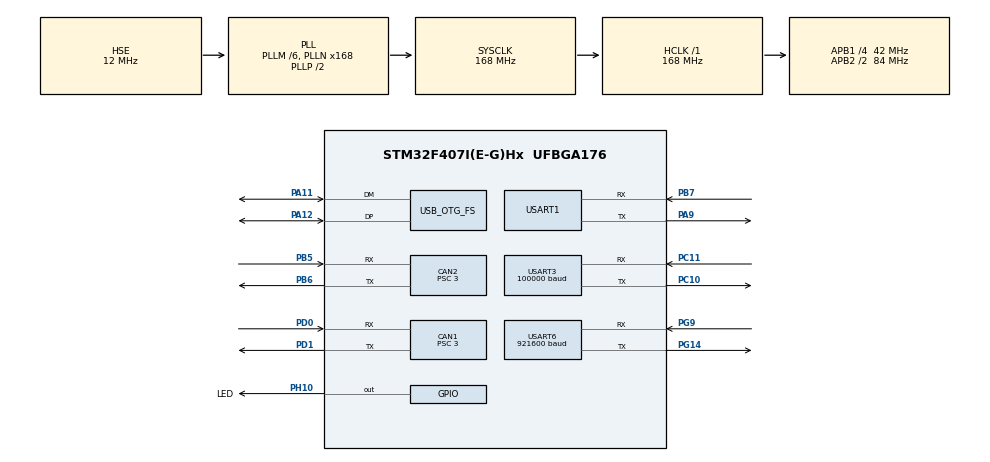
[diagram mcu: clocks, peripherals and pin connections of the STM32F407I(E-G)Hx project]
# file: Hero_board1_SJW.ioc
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CAN1.BS1=CAN_BS1_10TQ
CAN1.BS2=CAN_BS2_3TQ
CAN1.CalculateBaudRate=1000000
CAN1.CalculateTimeBit=1000
CAN1.CalculateTimeQuantum=71.42857142857143
CAN1.Prescaler=3
CAN1.TXFP=ENABLE
CAN2.BS1=CAN_BS1_10TQ
CAN2.BS2=CAN_BS2_3TQ
CAN2.CalculateBaudRate=1000000
CAN2.CalculateTimeBit=1000
CAN2.CalculateTimeQuantum=71.42857142857143
CAN2.Prescaler=3
CAN2.TXFP=ENABLE
Dma.Request0=USART3_RX
Dma.Request1=USART1_RX
Dma.Request2=USART1_TX
Dma.Request3=USART6_RX
Dma.USART1_RX.1.Direction=DMA_PERIPH_TO_MEMORY
Dma.USART1_RX.1.FIFOMode=DMA_FIFOMODE_DISABLE
Dma.USART1_RX.1.Instance=DMA2_Stream2
Dma.USART1_RX.1.MemDataAlignment=DMA_MDATAALIGN_BYTE
Dma.USART1_RX.1.MemInc=DMA_MINC_ENABLE
Dma.USART1_RX.1.Mode=DMA_CIRCULAR
Dma.USART1_RX.1.PeriphDataAlignment=DMA_PDATAALIGN_BYTE
Dma.USART1_RX.1.PeriphInc=DMA_PINC_DISABLE
Dma.USART1_RX.1.Priority=DMA_PRIORITY_LOW
Dma.USART1_TX.2.Direction=DMA_MEMORY_TO_PERIPH
Dma.USART1_TX.2.FIFOMode=DMA_FIFOMODE_DISABLE
Dma.USART1_TX.2.Instance=DMA2_Stream7
Dma.USART1_TX.2.MemDataAlignment=DMA_MDATAALIGN_BYTE
Dma.USART1_TX.2.MemInc=DMA_MINC_ENABLE
Dma.USART1_TX.2.Mode=DMA_CIRCULAR
Dma.USART1_TX.2.PeriphDataAlignment=DMA_PDATAALIGN_BYTE
Dma.USART1_TX.2.PeriphInc=DMA_PINC_DISABLE
Dma.USART1_TX.2.Priority=DMA_PRIORITY_LOW
Dma.USART3_RX.0.Direction=DMA_PERIPH_TO_MEMORY
Dma.USART3_RX.0.FIFOMode=DMA_FIFOMODE_DISABLE
Dma.USART3_RX.0.Instance=DMA1_Stream1
Dma.USART3_RX.0.MemDataAlignment=DMA_MDATAALIGN_BYTE
Dma.USART3_RX.0.MemInc=DMA_MINC_ENABLE
Dma.USART3_RX.0.Mode=DMA_CIRCULAR
Dma.USART3_RX.0.PeriphDataAlignment=DMA_PDATAALIGN_BYTE
Dma.USART3_RX.0.PeriphInc=DMA_PINC_DISABLE
Dma.USART3_RX.0.Priority=DMA_PRIORITY_VERY_HIGH
Dma.USART6_RX.3.Direction=DMA_PERIPH_TO_MEMORY
Dma.USART6_RX.3.FIFOMode=DMA_FIFOMODE_DISABLE
Dma.USART6_RX.3.Instance=DMA2_Stream1
Dma.USART6_RX.3.MemDataAlignment=DMA_MDATAALIGN_BYTE
Dma.USART6_RX.3.MemInc=DMA_MINC_ENABLE
Dma.USART6_RX.3.Mode=DMA_CIRCULAR
Dma.USART6_RX.3.PeriphDataAlignment=DMA_PDATAALIGN_BYTE
Dma.USART6_RX.3.PeriphInc=DMA_PINC_DISABLE
Dma.USART6_RX.3.Priority=DMA_PRIORITY_LOW
FREERTOS.INCLUDE_vTaskDelayUntil=1
FREERTOS.INCLUDE_xTaskGetHandle=1
FREERTOS.Tasks01=defaultTask,0,128,StartDefaultTask,Default,NULL,Dynamic,NULL,NULL;StartTask,3,128,ALL_Init,Default,NULL,Dynamic,NULL,NULL
Mcu.Family=STM32F4
Mcu.Name=STM32F407I(E-G)Hx
Mcu.Package=UFBGA176
NVIC.CAN1_RX0_IRQn=true\:5\:0\:false\:false\:true\:true\:true\:true\:true
NVIC.CAN1_TX_IRQn=true\:5\:0\:false\:false\:true\:true\:true\:true\:true
NVIC.CAN2_RX0_IRQn=true\:5\:0\:false\:false\:true\:true\:true\:true\:true
NVIC.CAN2_TX_IRQn=true\:5\:0\:false\:false\:true\:true\:true\:true\:true
NVIC.DMA1_Stream1_IRQn=true\:5\:0\:false\:false\:true\:true\:false\:true\:true
NVIC.DMA2_Stream1_IRQn=true\:5\:0\:false\:false\:true\:true\:false\:true\:true
NVIC.DMA2_Stream2_IRQn=true\:5\:0\:false\:false\:true\:true\:false\:true\:true
NVIC.DMA2_Stream7_IRQn=true\:5\:0\:false\:false\:true\:true\:false\:true\:true
NVIC.OTG_FS_IRQn=true\:5\:0\:false\:false\:true\:true\:true\:true\:true
NVIC.PriorityGroup=NVIC_PRIORITYGROUP_4
NVIC.TIM1_UP_TIM10_IRQn=true\:15\:0\:false\:false\:true\:false\:false\:true\:true
NVIC.TimeBase=TIM1_UP_TIM10_IRQn
NVIC.TimeBaseIP=TIM1
NVIC.USART3_IRQn=true\:5\:0\:false\:false\:true\:true\:true\:true\:true
NVIC.USART6_IRQn=true\:5\:0\:false\:false\:true\:true\:true\:true\:true
PA11.Mode=Device_Only
PA11.Signal=USB_OTG_FS_DM
PA12.Mode=Device_Only
PA12.Signal=USB_OTG_FS_DP
PA13.Mode=Serial_Wire
PA13.Signal=SYS_JTMS-SWDIO
PA14.Mode=Serial_Wire
PA14.Signal=SYS_JTCK-SWCLK
PA9.Mode=Asynchronous
PA9.Signal=USART1_TX
PB5.Mode=CAN_Activate
PB5.Signal=CAN2_RX
PB6.Mode=CAN_Activate
PB6.Signal=CAN2_TX
PB7.Mode=Asynchronous
PB7.Signal=USART1_RX
PC10.Mode=Asynchronous
PC10.Signal=USART3_TX
PC11.Mode=Asynchronous
PC11.Signal=USART3_RX
PD0.Mode=CAN_Activate
PD0.Signal=CAN1_RX
PD1.Mode=CAN_Activate
PD1.Signal=CAN1_TX
PG14.Mode=Asynchronous
PG14.Signal=USART6_TX
PG9.Mode=Asynchronous
PG9.Signal=USART6_RX
PH0-OSC_IN.Mode=HSE-External-Oscillator
PH0-OSC_IN.Signal=RCC_OSC_IN
PH1-OSC_OUT.Mode=HSE-External-Oscillator
PH1-OSC_OUT.Signal=RCC_OSC_OUT
PH10.GPIO_Label=LED
PH10.Signal=GPIO_Output
ProjectManager.HeapSize=0x200
ProjectManager.StackSize=0x400
ProjectManager.TargetToolchain=MDK-ARM V5.32
RCC.48MHZClocksFreq_Value=48000000
RCC.AHBFreq_Value=168000000
RCC.APB1CLKDivider=RCC_HCLK_DIV4
RCC.APB1Freq_Value=42000000
RCC.APB1TimFreq_Value=84000000
RCC.APB2CLKDivider=RCC_HCLK_DIV2
RCC.APB2Freq_Value=84000000
RCC.APB2TimFreq_Value=168000000
RCC.CortexFreq_Value=168000000
RCC.HCLKFreq_Value=168000000
RCC.HSE_VALUE=12000000
RCC.HSI_VALUE=16000000
RCC.LSE_VALUE=32768
RCC.PLLM=6
RCC.PLLN=168
RCC.PLLQ=7
RCC.SYSCLKFreq_VALUE=168000000
RCC.SYSCLKSource=RCC_SYSCLKSOURCE_PLLCLK
RCC.VCOOutputFreq_Value=336000000
USART1.VirtualMode=VM_ASYNC
USART3.BaudRate=100000
USART3.StopBits=STOPBITS_2
USART3.VirtualMode=VM_ASYNC
USART3.WordLength=WORDLENGTH_9B
USART6.BaudRate=921600
USART6.VirtualMode=VM_ASYNC
USB_DEVICE.CLASS_NAME_FS=CDC
USB_DEVICE.VirtualMode-CDC_FS=Cdc
USB_DEVICE.VirtualModeFS=Cdc_FS
USB_OTG_FS.VirtualMode=Device_Only
VP_FREERTOS_VS_CMSIS_V1.Mode=CMSIS_V1
VP_RTC_VS_RTC_Activate.Mode=RTC_Enabled
VP_RTC_VS_RTC_Calendar.Mode=RTC_Calendar
VP_SYS_VS_tim1.Mode=TIM1
VP_USB_DEVICE_VS_USB_DEVICE_CDC_FS.Mode=CDC_FS
board=custom

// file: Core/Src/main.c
/* USER CODE BEGIN Header */
/**
  ******************************************************************************
  * @file           : main.c
  * @brief          : Main program body
  ******************************************************************************
  * @attention
  *
  * Copyright (c) 2025 STMicroelectronics.
  * All rights reserved.
  *
  * This software is licensed under terms that can be found in the LICENSE file
  * in the root directory of this software component.
  * If no LICENSE file comes with this software, it is provided AS-IS.
  *
  ******************************************************************************
  */
/* USER CODE END Header */
#include "main.h"
#include "cmsis_os.h"
#include "can.h"
#include "dma.h"
#include "rtc.h"
#include "usart.h"
#include "usb_device.h"
#include "gpio.h"

void SystemClock_Config(void);
void MX_FREERTOS_Init(void);

int main(void)
{

  /* MCU Configuration--------------------------------------------------------*/

  /* Reset of all peripherals, Initializes the Flash interface and the Systick. */
  HAL_Init();

  /* Configure the system clock */
  SystemClock_Config();

  /* Initialize all configured peripherals */
  MX_GPIO_Init();
  MX_DMA_Init();
  MX_CAN1_Init();
  MX_CAN2_Init();
  MX_RTC_Init();
  MX_USART3_UART_Init();
  MX_USART1_UART_Init();
  MX_USART6_UART_Init();

  /* Call init function for freertos objects (in cmsis_os2.c) */
  MX_FREERTOS_Init();

  /* Start scheduler */
  osKernelStart();

  /* We should never get here as control is now taken by the scheduler */

  /* Infinite loop */
  while (1)
  {

  }
}

void SystemClock_Config(void)
{
  RCC_OscInitTypeDef RCC_OscInitStruct = {0};
  RCC_ClkInitTypeDef RCC_ClkInitStruct = {0};

  /** Configure the main internal regulator output voltage
  */
  __HAL_RCC_PWR_CLK_ENABLE();
  __HAL_PWR_VOLTAGESCALING_CONFIG(PWR_REGULATOR_VOLTAGE_SCALE1);

  /** Initializes the RCC Oscillators according to the specified parameters
  * in the RCC_OscInitTypeDef structure.
  */
  RCC_OscInitStruct.OscillatorType = RCC_OSCILLATORTYPE_LSI|RCC_OSCILLATORTYPE_HSE;
  RCC_OscInitStruct.HSEState = RCC_HSE_ON;
  RCC_OscInitStruct.LSIState = RCC_LSI_ON;
  RCC_OscInitStruct.PLL.PLLState = RCC_PLL_ON;
  RCC_OscInitStruct.PLL.PLLSource = RCC_PLLSOURCE_HSE;
  RCC_OscInitStruct.PLL.PLLM = 6;
  RCC_OscInitStruct.PLL.PLLN = 168;
  RCC_OscInitStruct.PLL.PLLP = RCC_PLLP_DIV2;
  RCC_OscInitStruct.PLL.PLLQ = 7;
  if (HAL_RCC_OscConfig(&RCC_OscInitStruct) != HAL_OK)
  {
    Error_Handler();
  }

  /** Initializes the CPU, AHB and APB buses clocks
  */
  RCC_ClkInitStruct.ClockType = RCC_CLOCKTYPE_HCLK|RCC_CLOCKTYPE_SYSCLK
                              |RCC_CLOCKTYPE_PCLK1|RCC_CLOCKTYPE_PCLK2;
  RCC_ClkInitStruct.SYSCLKSource = RCC_SYSCLKSOURCE_PLLCLK;
  RCC_ClkInitStruct.AHBCLKDivider = RCC_SYSCLK_DIV1;
  RCC_ClkInitStruct.APB1CLKDivider = RCC_HCLK_DIV4;
  RCC_ClkInitStruct.APB2CLKDivider = RCC_HCLK_DIV2;

  if (HAL_RCC_ClockConfig(&RCC_ClkInitStruct, FLASH_LATENCY_5) != HAL_OK)
  {
    Error_Handler();
  }
}

void HAL_TIM_PeriodElapsedCallback(TIM_HandleTypeDef *htim)
{
  if (htim->Instance == TIM1)
  {
    HAL_IncTick();
  }
}

void Error_Handler(void)
{
  __disable_irq();
  while (1)
  {
  }
}

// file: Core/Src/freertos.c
/* USER CODE BEGIN Header */
/**
 ******************************************************************************
 * File Name          : freertos.c
 * Description        : Code for freertos applications
 ******************************************************************************
 * @attention
 *
 * Copyright (c) 2025 STMicroelectronics.
 * All rights reserved.
 *
 * This software is licensed under terms that can be found in the LICENSE file
 * in the root directory of this software component.
 * If no LICENSE file comes with this software, it is provided AS-IS.
 *
 ******************************************************************************
 */
/* USER CODE END Header */

#include "FreeRTOS.h"
#include "task.h"
#include "main.h"
#include "cmsis_os.h"

/* USER CODE BEGIN Includes */
#include "typedef.h"
#include "pid.h"
#include "BSP_Can.h"
#include "BSP_Usart.h"
#include "SBUS.h"
#include "Task_J4310_onlineCheck.h"
#include "Task_CanSend.h"
#include "Task_RemoteControl.h"
#include "Task_RobotControl.h"
#include "Task_CommunicateWithPC.h"
/* USER CODE END Includes */

/* USER CODE BEGIN Variables */
/***********Queues************/
QueueHandle_t CAN1_ReceiveHandle;              // can1接收队列
QueueHandle_t CAN2_ReceiveHandle;              // can2接收队列
QueueHandle_t CAN_SendHandle;                  // can发送队列
QueueHandle_t Communicate_ReceivefromPCHandle; // 从PC接收到的数据队列

/***********Tasks************/
osThreadId Task_Can1MsgRecHandle;         // can1消息接收任务句柄
osThreadId Task_Can2MsgRecHandle;         // can2消息接收任务句柄
osThreadId Task_CanSendHandle;            // can发送任务句柄
osThreadId Robot_Control_Handle;          // 机器人控制任务句柄
osThreadId Task_CommunicateFromPC_Handle; // 从PC通信任务句柄
osThreadId Task_CommunicateToPC_Handle;   // 向PC通信任务句柄
osThreadId Task_RemoteControl_Handle;     // 遥控器任务句柄;
osThreadId Task_J4310_onlineCheck_Handle; // J4310电机在线检测

/* USER CODE END Variables */
osThreadId defaultTaskHandle;
osThreadId StartTaskHandle;

void StartDefaultTask(void const * argument);
void ALL_Init(void const * argument);

extern void MX_USB_DEVICE_Init(void);
void MX_FREERTOS_Init(void); /* (MISRA C 2004 rule 8.1) */

/* GetIdleTaskMemory prototype (linked to static allocation support) */
void vApplicationGetIdleTaskMemory( StaticTask_t **ppxIdleTaskTCBBuffer, StackType_t **ppxIdleTaskStackBuffer, uint32_t *pulIdleTaskStackSize );

/* USER CODE BEGIN GET_IDLE_TASK_MEMORY */
static StaticTask_t xIdleTaskTCBBuffer;
static StackType_t xIdleStack[configMINIMAL_STACK_SIZE];

void vApplicationGetIdleTaskMemory(StaticTask_t **ppxIdleTaskTCBBuffer, StackType_t **ppxIdleTaskStackBuffer, uint32_t *pulIdleTaskStackSize)
{
  *ppxIdleTaskTCBBuffer = &xIdleTaskTCBBuffer;
  *ppxIdleTaskStackBuffer = &xIdleStack[0];
  *pulIdleTaskStackSize = configMINIMAL_STACK_SIZE;
  /* place for user code */
}
/* USER CODE END GET_IDLE_TASK_MEMORY */

void MX_FREERTOS_Init(void) {

  /* USER CODE BEGIN RTOS_QUEUES */
  /* add queues, ... */
  /* definition and creation of CAN1_Receive */
  CAN1_ReceiveHandle = xQueueCreate(32, sizeof(Can_Export_Data_t));

  /* definition and creation of CAN2_Receive */
  CAN2_ReceiveHandle = xQueueCreate(32, sizeof(Can_Export_Data_t));

  /* definition and creation of CAN_Send */
  CAN_SendHandle = xQueueCreate(16, sizeof(Can_Send_Data_t));

  /* definition and creation of Communicate_PC */
  Communicate_ReceivefromPCHandle = xQueueCreate(16, UpperCom_MAX_BUF);
  /* USER CODE END RTOS_QUEUES */

  /* Create the thread(s) */
  /* definition and creation of defaultTask */
  osThreadDef(defaultTask, StartDefaultTask, osPriorityNormal, 0, 128);
  defaultTaskHandle = osThreadCreate(osThread(defaultTask), NULL);

  /* definition and creation of StartTask */
  osThreadDef(StartTask, ALL_Init, osPriorityRealtime, 0, 128);
  StartTaskHandle = osThreadCreate(osThread(StartTask), NULL);

  /* USER CODE BEGIN RTOS_THREADS */
  /* add threads, ... */
  /* definition and creation of Can1ReceiveTask */
  osThreadDef(Can1_ReceiveTask, Can1Receives, osPriorityAboveNormal, 0, 128);
  Task_Can1MsgRecHandle = osThreadCreate(osThread(Can1_ReceiveTask), NULL);

  /* definition and creation of Can1ReceiveTask */
  osThreadDef(Can2_ReceiveTask, Can2Receives, osPriorityAboveNormal, 0, 128);
  Task_Can2MsgRecHandle = osThreadCreate(osThread(Can2_ReceiveTask), NULL);

  /* definition and creation of CanSendTask */
  osThreadDef(Can_SendTask, AllCanSend, osPriorityHigh, 0, 256);
  Task_CanSendHandle = osThreadCreate(osThread(Can_SendTask), NULL);

  /* definition and creation of Robot_Control_Task */
  osThreadDef(Robot_Control_Task, Robot_Control, osPriorityRealtime, 0, 512);
  Robot_Control_Handle = osThreadCreate(osThread(Robot_Control_Task), NULL);

  /* definition and creation of Task_CommunicateToPC_Handle */
  osThreadDef(Task_CommunicateToPC_Task, USBCommunicateTask_Send, osPriorityAboveNormal, 0, 256);
  Task_CommunicateToPC_Handle = osThreadCreate(osThread(Task_CommunicateToPC_Task), NULL);

  /* definition and creation of Task_CommunicateFromPC_Task */
  osThreadDef(Task_CommunicateFromPC_Task, USBCommunicateTask_Receive, osPriorityAboveNormal, 0, 256);
  Task_CommunicateFromPC_Handle = osThreadCreate(osThread(Task_CommunicateFromPC_Task), NULL);

  /* definition and creation of Task_RemoteControl_Task */
  osThreadDef(Task_RemoteControl_Task, Remote_Control, osPriorityHigh, 0, 256);
  Task_RemoteControl_Handle = osThreadCreate(osThread(Task_RemoteControl_Task), NULL);

  /* definition and creation of Task_J4310_onlineCheck_Task */
  osThreadDef(Task_J4310_onlineCheck_Task, J4310_onlineCheck, osPriorityAboveNormal, 0, 128);
  Task_J4310_onlineCheck_Handle = osThreadCreate(osThread(Task_J4310_onlineCheck_Task), NULL);
  /* USER CODE END RTOS_THREADS */

}

void StartDefaultTask(void const * argument)
{
  /* init code for USB_DEVICE */
  MX_USB_DEVICE_Init();
  for (;;)
  {
    osDelay(1);
  }
}

void ALL_Init(void const * argument)
{
  /* USER CODE BEGIN ALL_Init */
  /* Infinite loop */
  for (;;)
  {
    taskENTER_CRITICAL();
    HAL_GPIO_WritePin(LED_GPIO_Port, LED_Pin, GPIO_PIN_SET);
    /*********初始化两个CAN控制协议，使用中断模式*********/
    CAN_IT_Init(&hcan1, Can1_Type);
    CAN_IT_Init(&hcan2, Can2_Type);
    /*********初始化PID*********/
    /*********初始化PID*********/
    fuzzy_init(&fuzzy_pid_shoot_L, 100, -100, 25, 0.1, 10);
    fuzzy_init(&fuzzy_pid_shoot_R, 100, -100, 25, 0.1, 10);
    fuzzy_init(&fuzzy_pid_bullet_v, 30, -30, 5, 0.01, 3);
    fuzzy_init(&fuzzy_pid_bullet_l, 10, -10, 0.1, 0.01, 1);
    Incremental_PIDInit(&M3508_FricL_Pid, 40.f, 0, 30, 20000, 5000);
    Incremental_PIDInit(&M3508_FricR_Pid, 40.f, 0, 30, 20000, 5000);
    Position_PIDInit(&M3508_DialV_Pid, 0.4f, 0.015f, 0.3, 0.5, 2000, 1000, 500);
    Incremental_PIDInit(&M3508_DialI_Pid, 15.0f, 2.5f, 8, 25000, 10000);
    /**********云台初始化*********/
    Cloud_Init();
    /**********遥控器初始化*********/
    SBUS_Init();
    /**********履带初始化*********/
    Track_Init();
    vTaskDelete(StartTaskHandle); // 删除启动任务
    taskEXIT_CRITICAL();          // 退出临界区
    osDelay(1);
  }
  /* USER CODE END ALL_Init */
}
